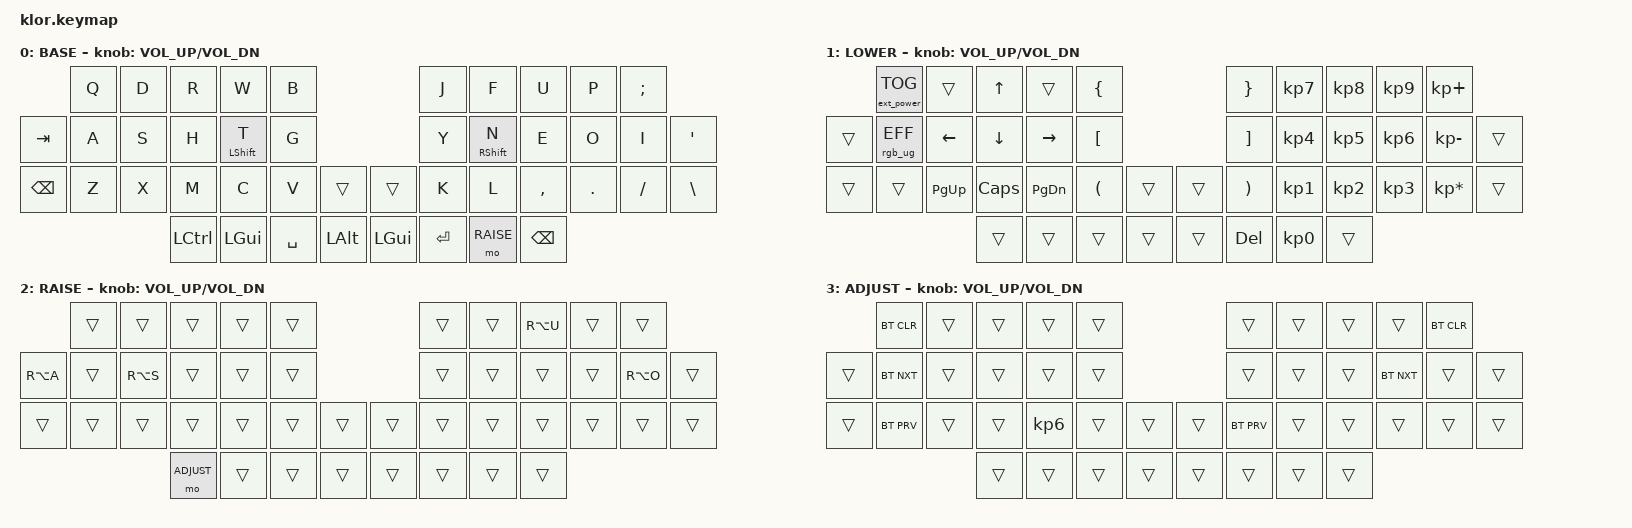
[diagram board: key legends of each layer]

//                               █         █    █            ▄▄▄▀▀▀▀▀▀▄▄▄        █▀▀▀▀▀▀▀▀▀▀█
//                               █        █     █          ▄▀            ▀▄      █          █
//                               █       █      █        ▄▀                ▀▄    █          █
//                               █      █       █        █                  █    █          █
//                               █     █        █       █                    █   █          █
//                               █    █         █       █                    █   █▄▄▄▄▄▄▄▄▄▄█
//                               █   █ █        █       █                    █   █      █
//                               █  █   █       █        █                  █    █       █
//                               █ █     █      █        ▀▄                ▄▀    █        █
//                               ██       █     █          ▀▄            ▄▀      █         █
//                               █         █    █▄▄▄▄▄▄▄▄    ▀▀▀▄▄▄▄▄▄▀▀▀        █          █
//
// ▄▄▄▄▄▄▄▄▄▄▄▄▄▄▄▄▄▄▄▄▄▄▄▄▄▄▄▄▄▄▄▄▄▄▄▄▄▄▄▄▄▄▄▄▄▄▄▄▄▄▄▄▄▄▄▄▄▄▄▄▄▄▄▄▄▄▄▄▄▄▄▄▄▄▄▄▄▄▄▄▄▄▄▄▄▄▄▄▄▄▄▄▄▄▄▄▄▄▄▄▄▄▄▄▄▄▄▄▄▄▄▄▄▄▄▄▄▄▄▄▄▄▄▄▄
       
#include <behaviors.dtsi>
#include <dt-bindings/zmk/keys.h>
#include <dt-bindings/zmk/bt.h>
#include <dt-bindings/zmk/outputs.h>
#include <dt-bindings/zmk/ext_power.h>
#include <dt-bindings/zmk/rgb.h>



#define BASE   0
#define LOWER  1
#define RAISE  2
#define ADJUST 3


/ {
    behaviors {
        hm: homerow_mods {
            compatible = "zmk,behavior-hold-tap";
            label = "HOMEROW_MODS";
            #binding-cells = <2>;
            tapping-term-ms = <150>;
            quick_tap_ms = <0>;
            flavor = "tap-preferred";
            bindings = <&kp>, <&kp>;
        };

    };

     combos {
            compatible = "zmk,combos";
            combo_esc {
                timeout-ms = <50>;
                key-positions = <0 1>;
                bindings = <&kp ESC>;
            };
    };



        keymap {
                compatible = "zmk,keymap";
// ▄▄▄▄▄▄▄▄▄▄▄▄▄▄▄▄▄▄▄▄▄▄▄▄▄▄▄▄▄▄▄▄▄▄▄▄▄▄▄▄▄▄▄▄▄▄▄▄▄▄▄▄▄▄▄▄▄▄▄▄▄▄▄▄▄▄▄▄▄▄▄▄▄▄▄▄▄▄▄▄▄▄▄▄▄▄▄▄▄▄▄▄▄▄▄▄▄▄▄▄▄▄▄▄▄▄▄▄▄▄▄▄▄▄▄▄▄▄▄▄▄▄▄▄▄▄▄▄▄▄▄▄▄▄▄▄▄▄▄▄▄▄


                base_layer {
// ┌───────────────────────────────────────────────────────────┐
label= "BASE"                                                  ;
// └───────────────────────────────────────────────────────────┘
/*           ┌─────────┬─────────┬─────────┬─────────┬─────────┐                    ┌─────────┬─────────┬─────────┬─────────┬─────────┐
             │    Q    │    D    │    R    │    W    │    B    │                    │    J    │    F    │    U    │    P    │    ;    │   
   ┌─────────┼─────────┼─────────┼─────────┼─────────┼─────────┤                    ├─────────┼─────────┼─────────┼─────────┼─────────┼─────────┐
   │   TAB   │    A    │    S    │    H    │    T    │    G    │                    │    Y    │    N    │    E    │    O    │    I    │    "    │
   ├─────────┼─────────┼─────────┼─────────┼─────────┼─────────┤╭────────╮╭────────╮├─────────┼─────────┼─────────┼─────────┼─────────┼─────────┤
   │   DEL   │    Z    │    X    │    M    │    C    │    V    ││  MUTE  ││PLY/PSE ││    K    │    L    │    ,    │    .    │    /    │    \    │
   └─────────┴─────────┴─────────┼─────────┼─────────┼─────────┼╰────────╯╰────────╯┼─────────┼─────────┼─────────┼─────────┴─────────┴─────────┘
                                 │  CTRL   │   GUI   │  SPACE  │   ALT   ││ CMD/WIN │  ENTER  │  RAISE  │  BSPCE  │  
                                 └─────────┴─────────┴─────────┴─────────┘└─────────┴─────────┴─────────┴─────────┘ */ 
 bindings = <
 //╷         ╷         ╷         ╷         ╷         ╷         ╷         ╷╷         ╷         ╷         ╷         ╷         ╷         ╷         ╷
              &kp Q     &kp D     &kp R     &kp W     &kp B                          &kp J     &kp F     &kp U     &kp P     &kp SEMI
    &kp TAB   &kp A     &kp S     &kp H   &hm LSHFT T &kp G                          &kp Y   &hm RSHFT N &kp E     &kp O     &kp I     &kp SQT
    &kp BSPC  &kp Z     &kp X     &kp M     &kp C     &kp V     &trans     &trans    &kp K     &kp L     &kp COMMA &kp DOT   &kp FSLH  &kp BSLH
                                  &kp LCTRL &kp LGUI  &kp SPACE &kp LALT   &kp LGUI  &kp RET   &mo RAISE &kp BSPC    
                        >;
            sensor-bindings = <&inc_dec_kp C_VOL_UP C_VOL_DN>;
                };

// ▄▄▄▄▄▄▄▄▄▄▄▄▄▄▄▄▄▄▄▄▄▄▄▄▄▄▄▄▄▄▄▄▄▄▄▄▄▄▄▄▄▄▄▄▄▄▄▄▄▄▄▄▄▄▄▄▄▄▄▄▄▄▄▄▄▄▄▄▄▄▄▄▄▄▄▄▄▄▄▄▄▄▄▄▄▄▄▄▄▄▄▄▄▄▄▄▄▄▄▄▄▄▄▄▄▄▄▄▄▄▄▄▄▄▄▄▄▄▄▄▄▄▄▄▄▄▄▄▄▄▄▄▄▄▄▄▄▄▄▄▄▄


                lower_layer {
// ┌───────────────────────────────────────────────────────────┐
label= "LOWER"                                                 ;
// └───────────────────────────────────────────────────────────┘
/*           ┌─────────┬─────────┬─────────┬─────────┬─────────┐                    ┌─────────┬─────────┬─────────┬─────────┬─────────┐
             │         │         │    UP   │         │    {    │                    │    }    │    7    │    8    │    9    │    +    │
   ┌─────────┼─────────┼─────────┼─────────┼─────────┼─────────┤                    ├─────────┼─────────┼─────────┼─────────┼─────────┼─────────┐
   │         │         │   LEFT  │  DOWN   │  RIGHT  │    [    │                    │    ]    │    4    │    5    │    6    │    -    │         │
   ├─────────┼─────────┼─────────┼─────────┼─────────┼─────────┤╭────────╮╭────────╮├─────────┼─────────┼─────────┼─────────┼─────────┼─────────┤
   │         │         │   P UP  │ C LOCK  │ P DOWN  │    (    ││        ││        ││    )    │    1    │    2    │    3    │    *    │         │
   └─────────┴─────────┴─────────┼─────────┼─────────┼─────────┼╰────────╯╰────────╯┼─────────┼─────────┼─────────┼─────────┴─────────┴─────────┘
                                 │         │         │         │         ││         │         │    0    │         │  
                                 └─────────┴─────────┴─────────┴─────────┘└─────────┴─────────┴─────────┴─────────┘ */ 
 bindings = <
 //╷         ╷         ╷         ╷         ╷         ╷         ╷         ╷╷         ╷         ╷         ╷         ╷         ╷         ╷         ╷
    &ext_power EP_TOG   &trans    &kp UP    &trans    &kp LBRC                       &kp RBRC  &kp KP_N7 &kp KP_N8 &kp KP_N9 &kp KP_PLUS
    &trans  &rgb_ug RGB_EFF    &kp LEFT  &kp DOWN  &kp RIGHT &kp LBKT                       &kp RBKT  &kp KP_N4 &kp KP_N5 &kp KP_N6 &kp KP_MINUS &trans
    &trans    &trans    &kp PG_UP &kp CAPS  &kp PG_DN &kp LPAR  &trans     &trans    &kp RPAR  &kp KP_N1 &kp KP_N2 &kp KP_N3 &kp KP_MULTIPLY &trans
                                  &trans    &trans    &trans    &trans     &trans    &kp DELETE &kp KP_N0 &trans  
                        >;
            sensor-bindings = <&inc_dec_kp C_VOL_UP C_VOL_DN>;
                };

// ▄▄▄▄▄▄▄▄▄▄▄▄▄▄▄▄▄▄▄▄▄▄▄▄▄▄▄▄▄▄▄▄▄▄▄▄▄▄▄▄▄▄▄▄▄▄▄▄▄▄▄▄▄▄▄▄▄▄▄▄▄▄▄▄▄▄▄▄▄▄▄▄▄▄▄▄▄▄▄▄▄▄▄▄▄▄▄▄▄▄▄▄▄▄▄▄▄▄▄▄▄▄▄▄▄▄▄▄▄▄▄▄▄▄▄▄▄▄▄▄▄▄▄▄▄


                raise_layer {
// ┌───────────────────────────────────────────────────────────┐
label= "RAISE"                                                 ;
// └───────────────────────────────────────────────────────────┘
/*           ┌─────────┬─────────┬─────────┬─────────┬─────────┐                    ┌─────────┬─────────┬─────────┬─────────┬─────────┐
             │         │         │         │         │         │                    │         │         │    Ü    │         │         │
   ┌─────────┼─────────┼─────────┼─────────┼─────────┼─────────┤                    ├─────────┼─────────┼─────────┼─────────┼─────────┼─────────┐
   │    Ä    │         │    ß    │         │         │         │                    │         │         │         │         │    Ö    │         │
   ├─────────┼─────────┼─────────┼─────────┼─────────┼─────────┤╭────────╮╭────────╮├─────────┼─────────┼─────────┼─────────┼─────────┼─────────┤
   │         │         │         │         │         │         ││        ││        ││         │         │         │         │         │         │
   └─────────┴─────────┴─────────┼─────────┼─────────┼─────────┼╰────────╯╰────────╯┼─────────┼─────────┼─────────┼─────────┴─────────┴─────────┘
                                 │ ADJUST  │         │         │         ││         │         │         │         │  
                                 └─────────┴─────────┴─────────┴─────────┘└─────────┴─────────┴─────────┴─────────┘ */ 
 bindings = <
 //╷         ╷         ╷         ╷         ╷         ╷         ╷         ╷╷         ╷         ╷         ╷         ╷         ╷         ╷         ╷
              &trans    &trans    &trans    &trans    &trans                         &trans    &trans    &kp RA(U) &trans    &trans     
    &kp RA(A) &trans    &kp RA(S) &trans    &trans    &trans                         &trans    &trans    &trans    &trans    &kp RA(O) &trans  
    &trans    &trans    &trans    &trans    &trans    &trans    &trans     &trans    &trans    &trans    &trans    &trans    &trans    &trans
                                  &mo ADJUST &trans   &trans    &trans     &trans    &trans    &trans    &trans  
                        >;
                sensor-bindings = <&inc_dec_kp C_VOL_UP C_VOL_DN>;
                };

// ▄▄▄▄▄▄▄▄▄▄▄▄▄▄▄▄▄▄▄▄▄▄▄▄▄▄▄▄▄▄▄▄▄▄▄▄▄▄▄▄▄▄▄▄▄▄▄▄▄▄▄▄▄▄▄▄▄▄▄▄▄▄▄▄▄▄▄▄▄▄▄▄▄▄▄▄▄▄▄▄▄▄▄▄▄▄▄▄▄▄▄▄▄▄▄▄▄▄▄▄▄▄▄▄▄▄▄▄▄▄▄▄▄▄▄▄▄▄▄▄▄▄▄▄▄


                adjust_layer {
// ┌───────────────────────────────────────────────────────────┐
label= "ADJUST"                                                ;
// └───────────────────────────────────────────────────────────┘
/*           ┌─────────┬─────────┬─────────┬─────────┬─────────┐                    ┌─────────┬─────────┬─────────┬─────────┬─────────┐
             │         │         │         │         │         │                    │         │         │         │         │         │
   ┌─────────┼─────────┼─────────┼─────────┼─────────┼─────────┤                    ├─────────┼─────────┼─────────┼─────────┼─────────┼─────────┐
   │         │         │         │         │         │         │                    │         │         │         │         │         │         │
   ├─────────┼─────────┼─────────┼─────────┼─────────┼─────────┤╭────────╮╭────────╮├─────────┼─────────┼─────────┼─────────┼─────────┼─────────┤
   │         │         │         │         │         │         ││        ││        ││         │         │         │         │         │         │
   └─────────┴─────────┴─────────┼─────────┼─────────┼─────────┼╰────────╯╰────────╯┼─────────┼─────────┼─────────┼─────────┴─────────┴─────────┘
                                 │         │         │         │         ││         │         │         │         │  
                                 └─────────┴─────────┴─────────┴─────────┘└─────────┴─────────┴─────────┴─────────┘ */ 
 bindings = <
 //╷         ╷         ╷         ╷         ╷         ╷         ╷         ╷╷         ╷         ╷         ╷         ╷         ╷         ╷         ╷
             &bt BT_CLR &trans    &trans    &trans    &trans                         &trans    &trans    &trans    &trans    &bt BT_CLR   
    &trans   &bt BT_NXT &trans    &trans    &trans    &trans                         &trans    &trans    &trans    &bt BT_NXT &trans   &trans 
    &trans   &bt BT_PRV &trans    &trans    &kp KP_N6 &trans    &trans     &trans    &bt BT_PRV &trans   &trans    &trans    &trans    &trans    
                                  &trans    &trans    &trans    &trans     &trans    &trans    &trans    &trans    
                        >;
            sensor-bindings = <&inc_dec_kp C_VOL_UP C_VOL_DN>;
                };
        };
};
